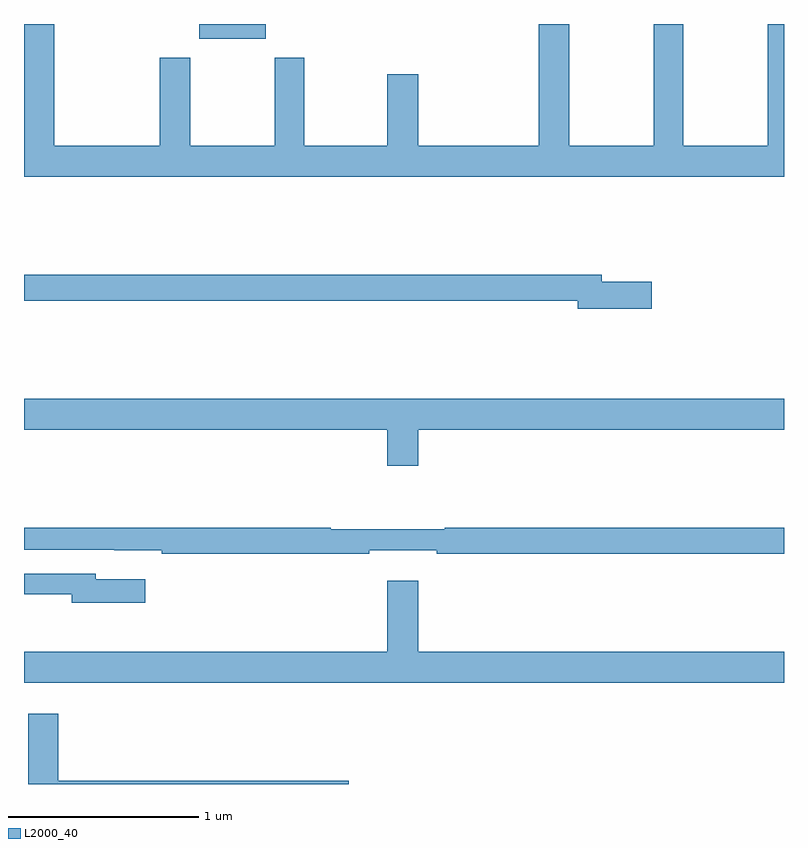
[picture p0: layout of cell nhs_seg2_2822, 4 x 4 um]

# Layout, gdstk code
import gdstk
lib = gdstk.Library(unit=1e-6, precision=1e-09)
def R(c, l, rs):  # rectangles x0, y0, x1, y1
    for r in rs: c.add(gdstk.rectangle(r[:2], r[2:], *l))
def P(c, l, *ps):  # polygons
    for p in ps: c.add(gdstk.Polygon(p, *l))
L2000_40 = (2000, 40)

nhs_seg2_2822 = lib.new_cell('nhs_seg2_2822')
R(nhs_seg2_2822, L2000_40, [(259.922,621.722,260.272,621.8)])
P(nhs_seg2_2822, L2000_40, [(263,621.8),(262.915,621.8),(262.915,621.16),(262.47,621.16),(262.47,621.8),(262.315,621.8),(262.315,621.16),(261.87,621.16),(261.87,621.8),(261.71,621.8),(261.71,621.16),(261.076,621.16),(261.076,621.535),(260.912,621.535),(260.912,621.16),(260.475,621.16),(260.475,621.622),(260.32,621.622),(260.32,621.16),(259.875,621.16),(259.875,621.622),(259.715,621.622),(259.715,621.16),(259.16,621.16),(259.16,621.8),(259,621.8),(259,620.996),(263,620.996)],
  [(262.303,620.444),(262.042,620.444),(262.042,620.48),(259,620.48),(259,620.344),(261.914,620.344),(261.914,620.302),(262.303,620.302)],
  [(261.076,619.664),(263,619.664),(263,619.828),(259,619.828),(259,619.664),(260.912,619.664),(260.912,619.476),(261.076,619.476)],
  [(260.816,619.031),(261.172,619.031),(261.172,619.012),(263,619.012),(263,619.148),(261.214,619.148),(261.214,619.141),(260.614,619.141),(260.614,619.148),(259,619.148),(259,619.032),(259.474,619.032),(259.474,619.031),(259.726,619.031),(259.726,619.012),(260.816,619.012)],
  [(259.639,618.877),(259.378,618.877),(259.378,618.906),(259,618.906),(259,618.798),(259.25,618.798),(259.25,618.755),(259.639,618.755)],
  [(263,618.496),(261.076,618.496),(261.076,618.871),(260.912,618.871),(260.912,618.496),(259,618.496),(259,618.332),(263,618.332)],
  [(260.71,617.816),(259.181,617.816),(259.181,618.169),(259.022,618.169),(259.022,617.8),(260.71,617.8)])

lib.write_gds('nhs_seg2_2822.gds')
